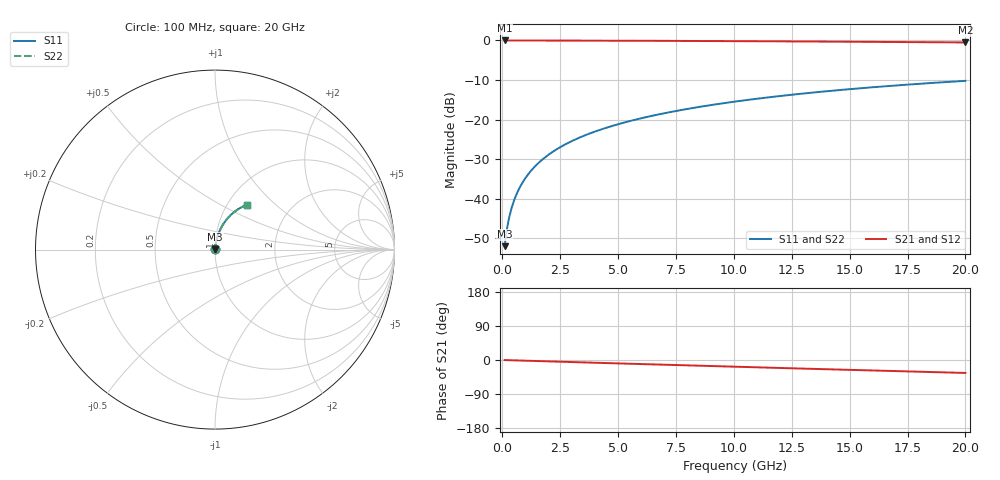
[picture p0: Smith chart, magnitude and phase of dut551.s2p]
! Touchstone file exported from HFSS 2026.1.0
!  File:  C:/ffzhzh/LocalFiles/Ansys_Project_Files/temp_train_TMRDL_551_1783007666_51716.aedt
!  Generated:  11:55:50 PM Jul  2, 2026
!  Design:  TMRDL
!  Project:  temp_train_TMRDL_551_1783007666_51716
! Variables:
!  h_bsmrdl = 2um
!  h_ox = 20um
!  h_rdl = 5um
!  h_sub = 80um
!  h_tmrdl = 5.82um
!  h_tsv = 80um
!  h_via = 3um
!  l_bsmrdl = 300um
!  l_sub = 898.68um
!  l_tmrdl = 498.68um
!  m_sub = 200um
!  pitch = 47.4um
!  r_tsv = 6um
!  s_tmrdl = 10um
!  w_bsmrdl = 18um
!  w_sub = 500um
!  w_tmrdl = 20.74um
!  x_tsv_center1 = 509.05um
!  x_tsv_center2 = 827.05um
!  x_tsv_center3 = 1346.47um
!  x_tsv_center4 = 1664.47um
!  x_tsv_center5 = 2183.89um
!  x_tsv_center6 = 2501.89um
# GHz S MA R 50.000000
! Terminal data exported
! Port[1] = TM_RDL1_1_T1
! Port[2] = TM_RDL1_1_T2
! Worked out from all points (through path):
!   200 points, 100 MHz to 20 GHz, reference 50 ohm
!   highest |S21| = -0.01 dB at 100 MHz (marker M1); lowest = -0.5 dB at 20 GHz (marker M2)
!   group delay of S21, straight-line fit = 4.74 ps
!   lowest |S11| = -51.9 dB at 100 MHz (marker M3), VSWR 1.01, Z = 50.2 + j0.195 ohm
!   |S11| at or under -10 dB: start of sweep to end of sweep
!   |S22| runs from -51.9 to -10.2 dB; largest |S21 - S12| = 2.4e-15
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0.1  0.002527 50.3  0.9984 -0.2  0.9984 -0.2  0.002527 50.3
! Gamma 0 0 0 0
! Port Impedance 50 0 50 0
0.2  0.00417 65.4  0.9983 -0.4  0.9983 -0.4  0.00417 65.4
0.3  0.005886 71.8  0.9982 -0.6  0.9982 -0.6  0.005886 71.8
0.4  0.00763 75.3  0.9981 -0.7  0.9981 -0.7  0.00763 75.3
0.5  0.009392 77.5  0.9981 -0.9  0.9981 -0.9  0.009392 77.5
0.7  0.01295 80.0  0.998 -1.3  0.998 -1.3  0.01295 80.0
0.8  0.01473 80.7  0.9979 -1.5  0.9979 -1.5  0.01473 80.7
1  0.01831 81.6  0.9978 -1.8  0.9978 -1.8  0.01831 81.6
1.2  0.02189 82.1  0.9976 -2.2  0.9976 -2.2  0.02189 82.1
1.4  0.02546 82.3  0.9974 -2.6  0.9974 -2.6  0.02546 82.3
1.7  0.0308 82.3  0.9971 -3.1  0.9971 -3.1  0.0308 82.3
2  0.0361 82.1  0.9967 -3.7  0.9967 -3.7  0.0361 82.1
2.7  0.04835 81.4  0.9957 -4.9  0.9957 -4.9  0.04835 81.4
3.5  0.06213 80.3  0.9944 -6.3  0.9944 -6.3  0.06213 80.3
4.2  0.07403 79.2  0.9932 -7.6  0.9932 -7.6  0.07403 79.2
5  0.08747 78.0  0.9916 -9.0  0.9916 -9.0  0.08747 78.0
6.8  0.1172 75.2  0.9877 -12.1  0.9877 -12.1  0.1172 75.2
8.3  0.1414 72.8  0.984 -14.7  0.984 -14.7  0.1414 72.8
10.1  0.1697 70.0  0.9789 -17.8  0.9789 -17.8  0.1697 69.9
13.4  0.2194 64.7  0.9682 -23.4  0.9682 -23.4  0.2194 64.7
16.7  0.2658 59.4  0.9559 -28.8  0.9559 -28.8  0.2659 59.4
20  0.3086 54.3  0.9426 -34.1  0.9426 -34.1  0.3086 54.3
